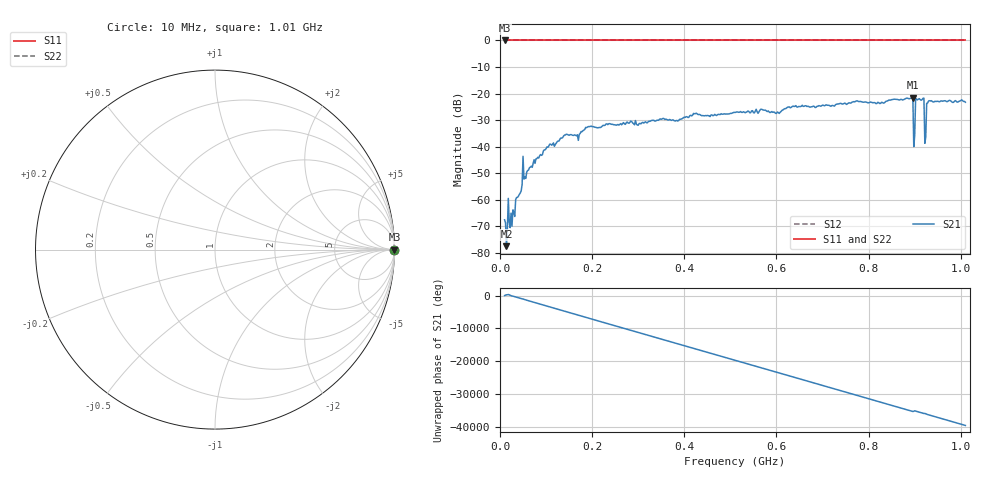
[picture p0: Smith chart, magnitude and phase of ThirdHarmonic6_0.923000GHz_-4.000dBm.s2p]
! 8/16/2025 6:07:45 AM
! C:\ANRITSUVNA\TEMP\TEMP.S2P
! CHANNEL.1
! TR.MEASUREMENT
! RAW.DATA
! RF.CORRECTION.OFF
! AVERAGING.OFF
! IF.BANDWIDTH: 5KHZ
! SWEEPTYPE:  FREQ.SWEEP(Linear)
! Reference Plane Port Info
! PORT:  PORT1  PORT2
! DISTANCE:  0  m  0  m
! TIME:  0  s  0  s
! PHASE.OFFSET:  0  deg.  0  deg.
! LOSS:  0  dB  0  dB
! REF.LOSS:  0  dB  0  dB
! REF.FREQ:  0  Hz  0  Hz
! Power Info
! POWER:  -20  dBm  -20  dBm
! EFF.POWER:  -20  dBm  -20  dBm
! SOURCE.ATTEN:  0  dB  0  dB
! TEST.ATTEN:  0  dB  0  dB
# GHZ S RI R 50.0
! FREQ.GHZ  S11RE  S11IM  S21RE  S21IM  S12RE  S12IM  S22RE  S22IM
!; PortSelection: Port_12
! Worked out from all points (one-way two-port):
!   501 points, 10 MHz to 1.01 GHz, reference 50 ohm
!   highest |S21| = -21.60 dB at 896 MHz (marker M1); lowest = -77.5 dB at 14 MHz (marker M2)
!   lowest |S11| = 0.0 dB at 10 MHz (marker M3)
!   |S11| at or under -10 dB: nowhere
!   |S22| runs from 0.0 to 0.0 dB; largest |S21 - S12| = 1.1
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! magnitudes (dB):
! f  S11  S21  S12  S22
! 10 MHz  0.0  -67.6  0.0  0.0
! 14 MHz  0.0  -77.5  0.0  0.0
! 28 MHz  0.0  -63.8  0.0  0.0
! 54 MHz  0.0  -51.4  0.0  0.0
! 56 MHz  0.0  -52.0  0.0  0.0
! 106 MHz  0.0  -39.7  0.0  0.0
! 178 MHz  0.0  -34.4  0.0  0.0
! 194 MHz  0.0  -32.5  0.0  0.0
! 344 MHz  0.0  -30.1  0.0  0.0
! 510 MHz  0.0  -27.1  0.0  0.0
! 678 MHz  0.0  -24.9  0.0  0.0
! 844 MHz  0.0  -22.5  0.0  0.0
! 892 MHz  0.0  -21.7  0.0  0.0
! 896 MHz  0.0  -21.6  0.0  0.0
! 902 MHz  0.0  -21.9  0.0  0.0
! 906 MHz  0.0  -22.4  0.0  0.0
! 916 MHz  0.0  -22.3  0.0  0.0
! 920 MHz  0.0  -21.8  0.0  0.0
! 926 MHz  0.0  -23.7  0.0  0.0
! 930 MHz  0.0  -22.8  0.0  0.0
! 932 MHz  0.0  -22.7  0.0  0.0
! 1.01 GHz  0.0  -23.3  0.0  0.0
